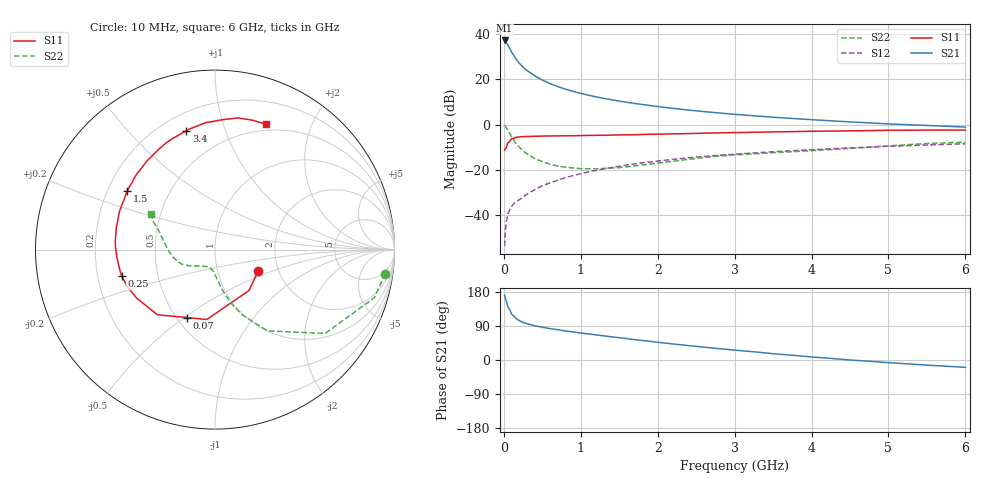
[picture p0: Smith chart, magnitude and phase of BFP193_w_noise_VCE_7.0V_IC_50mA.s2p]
! Infineon Technologies  Discrete & RF Semiconductors
! BFP193
! VCE =  7.0 V,  IC =  50 mA
! Common Emitter S-Parameters:  Jan 2017
# GHz  S  MA  R  50
!  f  S11  S21  S12  S22
! GHz  MAG  ANG  MAG  ANG  MAG  ANG  MAG  ANG
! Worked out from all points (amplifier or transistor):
!   77 points, 10 MHz to 6 GHz, reference 50 ohm
!   highest |S21| = 37.3 dB at 10 MHz (marker M1)
!   |S21| within 3 dB of that: start of sweep to 67.33 MHz
!   unconditionally stable (mu >= 1): 593.4 MHz to 2.378 GHz
!   at 130 MHz: K = 0.59, MSG = 32.9 dB, |S12| = -35.2 dB
!   at 2.2 GHz: K = 1.01, MAG = 10.8 dB, |S12| = -15.5 dB
!   at 6 GHz: K = 0.91, MSG = 3.7 dB, |S12| = -8.6 dB
!   lowest NFmin = 1.52 dB at 450 MHz
!   S11 on the Smith chart (normalised r, x): 10 MHz: 1.57, -0.40; 70 MHz: 0.56, -0.51; 250 MHz: 0.30, -0.13; 1.5 GHz: 0.28, +0.28; 3.4 GHz: 0.30, +0.74; 6 GHz: 0.43, +1.40
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0.01  0.2684 -26.1  73.31 170.7  0.002 83.7  0.9581 -8.1
0.02  0.2966 -50.2  71.55 162.6  0.0044 87.8  0.9272 -16.8
0.05  0.392 -96.7  58.86 141.7  0.0101 65.6  0.7713 -37.3
0.07  0.4096 -112.4  50.88 135.3  0.0121 63.3  0.6693 -43.6
0.1  0.4846 -131.5  40.67 121.3  0.0151 60.9  0.5384 -57.2
0.15  0.5141 -148.4  29.65 110.6  0.019 59.2  0.3963 -67.1
0.2  0.5308 -157.6  23.08 103.9  0.0214 60.0  0.314 -73.1
0.25  0.5407 -164.3  18.79 99.0  0.0251 62.4  0.261 -76.9
0.3  0.5428 -168.8  15.81 95.8  0.0284 63.5  0.2227 -80.2
0.4  0.5486 -175.8  12.04 90.4  0.0358 65.7  0.1768 -84.3
0.5  0.5542 178.9  9.671 86.4  0.0438 67.5  0.1499 -88.4
0.6  0.5578 174.7  8.111 82.9  0.0507 68.3  0.1319 -92.1
0.7  0.5594 170.8  6.966 79.9  0.0579 68.9  0.1195 -95.0
0.9  0.5645 164.0  5.43 74.0  0.0737 67.6  0.1089 -102.0
1.1  0.5734 157.8  4.475 68.8  0.0892 66.2  0.1045 -108.7
1.5  0.5877 146.4  3.307 58.8  0.1188 62.0  0.1107 -123.2
2.1  0.6151 130.4  2.393 44.6  0.1616 55.1  0.1459 -141.6
3.1  0.6661 109.0  1.634 24.3  0.2254 42.6  0.2168 -162.3
3.4  0.6806 103.6  1.495 18.7  0.2428 39.1  0.232 -167.9
4.1  0.7112 92.7  1.252 6.5  0.2815 30.9  0.269 177.5
5.1  0.7453 78.8  1.016 -8.2  0.3332 19.4  0.3442 159.4
6  0.7543 67.7  0.879 -19.4  0.3733 9.3  0.4066 151.0
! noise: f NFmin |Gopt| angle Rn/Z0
0.45  1.52  0.43  -170  0.08
0.9  1.57  0.45  -164  0.09
1.9  2.2  0.61  -132  0.23
2.4  2.55  0.64  -119  0.48
